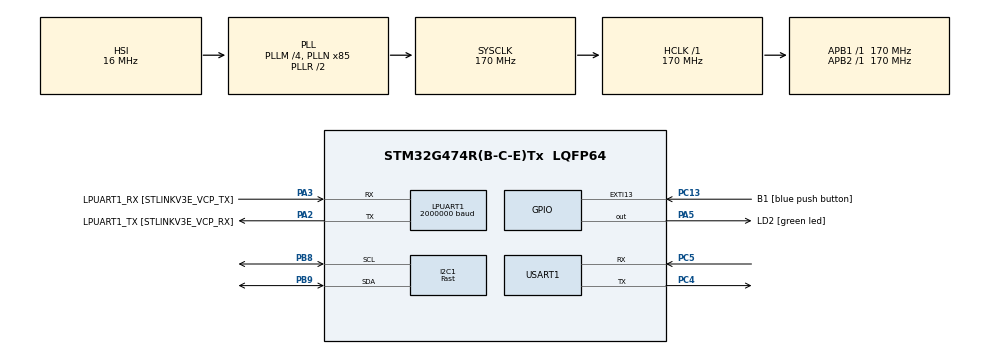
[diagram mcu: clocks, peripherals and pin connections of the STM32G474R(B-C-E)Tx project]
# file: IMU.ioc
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Dma.LPUART1_RX.0.Direction=DMA_PERIPH_TO_MEMORY
Dma.LPUART1_RX.0.EventEnable=DISABLE
Dma.LPUART1_RX.0.Instance=DMA1_Channel1
Dma.LPUART1_RX.0.MemDataAlignment=DMA_MDATAALIGN_BYTE
Dma.LPUART1_RX.0.MemInc=DMA_MINC_ENABLE
Dma.LPUART1_RX.0.Mode=DMA_CIRCULAR
Dma.LPUART1_RX.0.PeriphDataAlignment=DMA_PDATAALIGN_BYTE
Dma.LPUART1_RX.0.PeriphInc=DMA_PINC_DISABLE
Dma.LPUART1_RX.0.Polarity=HAL_DMAMUX_REQ_GEN_RISING
Dma.LPUART1_RX.0.Priority=DMA_PRIORITY_VERY_HIGH
Dma.LPUART1_RX.0.RequestNumber=1
Dma.LPUART1_RX.0.SignalID=NONE
Dma.LPUART1_RX.0.SyncEnable=DISABLE
Dma.LPUART1_RX.0.SyncPolarity=HAL_DMAMUX_SYNC_NO_EVENT
Dma.LPUART1_RX.0.SyncRequestNumber=1
Dma.LPUART1_RX.0.SyncSignalID=NONE
Dma.LPUART1_TX.1.Direction=DMA_MEMORY_TO_PERIPH
Dma.LPUART1_TX.1.EventEnable=DISABLE
Dma.LPUART1_TX.1.Instance=DMA1_Channel2
Dma.LPUART1_TX.1.MemDataAlignment=DMA_MDATAALIGN_BYTE
Dma.LPUART1_TX.1.MemInc=DMA_MINC_ENABLE
Dma.LPUART1_TX.1.Mode=DMA_NORMAL
Dma.LPUART1_TX.1.PeriphDataAlignment=DMA_PDATAALIGN_BYTE
Dma.LPUART1_TX.1.PeriphInc=DMA_PINC_DISABLE
Dma.LPUART1_TX.1.Polarity=HAL_DMAMUX_REQ_GEN_RISING
Dma.LPUART1_TX.1.Priority=DMA_PRIORITY_VERY_HIGH
Dma.LPUART1_TX.1.RequestNumber=1
Dma.LPUART1_TX.1.SignalID=NONE
Dma.LPUART1_TX.1.SyncEnable=DISABLE
Dma.LPUART1_TX.1.SyncPolarity=HAL_DMAMUX_SYNC_NO_EVENT
Dma.LPUART1_TX.1.SyncRequestNumber=1
Dma.LPUART1_TX.1.SyncSignalID=NONE
Dma.Request0=LPUART1_RX
Dma.Request1=LPUART1_TX
Dma.Request2=USART1_RX
Dma.Request3=USART1_TX
Dma.USART1_RX.2.Direction=DMA_PERIPH_TO_MEMORY
Dma.USART1_RX.2.EventEnable=DISABLE
Dma.USART1_RX.2.Instance=DMA1_Channel3
Dma.USART1_RX.2.MemDataAlignment=DMA_MDATAALIGN_BYTE
Dma.USART1_RX.2.MemInc=DMA_MINC_ENABLE
Dma.USART1_RX.2.Mode=DMA_CIRCULAR
Dma.USART1_RX.2.PeriphDataAlignment=DMA_PDATAALIGN_BYTE
Dma.USART1_RX.2.PeriphInc=DMA_PINC_DISABLE
Dma.USART1_RX.2.Polarity=HAL_DMAMUX_REQ_GEN_RISING
Dma.USART1_RX.2.Priority=DMA_PRIORITY_LOW
Dma.USART1_RX.2.RequestNumber=1
Dma.USART1_RX.2.SignalID=NONE
Dma.USART1_RX.2.SyncEnable=DISABLE
Dma.USART1_RX.2.SyncPolarity=HAL_DMAMUX_SYNC_NO_EVENT
Dma.USART1_RX.2.SyncRequestNumber=1
Dma.USART1_RX.2.SyncSignalID=NONE
Dma.USART1_TX.3.Direction=DMA_MEMORY_TO_PERIPH
Dma.USART1_TX.3.EventEnable=DISABLE
Dma.USART1_TX.3.Instance=DMA1_Channel4
Dma.USART1_TX.3.MemDataAlignment=DMA_MDATAALIGN_BYTE
Dma.USART1_TX.3.MemInc=DMA_MINC_ENABLE
Dma.USART1_TX.3.Mode=DMA_NORMAL
Dma.USART1_TX.3.PeriphDataAlignment=DMA_PDATAALIGN_BYTE
Dma.USART1_TX.3.PeriphInc=DMA_PINC_DISABLE
Dma.USART1_TX.3.Polarity=HAL_DMAMUX_REQ_GEN_RISING
Dma.USART1_TX.3.Priority=DMA_PRIORITY_LOW
Dma.USART1_TX.3.RequestNumber=1
Dma.USART1_TX.3.SignalID=NONE
Dma.USART1_TX.3.SyncEnable=DISABLE
Dma.USART1_TX.3.SyncPolarity=HAL_DMAMUX_SYNC_NO_EVENT
Dma.USART1_TX.3.SyncRequestNumber=1
Dma.USART1_TX.3.SyncSignalID=NONE
FREERTOS.Tasks01=defaultTask,24,3000,StartDefaultTask,As weak,NULL,Static,defaultTaskBuffer,defaultTaskControlBlock
FREERTOS.configENABLE_FPU=1
I2C1.I2C_Speed_Mode=I2C_Fast
I2C1.Timing=0x40621236
IWDG.Reload=2499
LPUART1.BaudRate=2000000
Mcu.Family=STM32G4
Mcu.Name=STM32G474R(B-C-E)Tx
Mcu.Package=LQFP64
NVIC.DMA1_Channel1_IRQn=true\:5\:0\:false\:false\:true\:true\:false\:true\:true
NVIC.DMA1_Channel2_IRQn=true\:5\:0\:false\:false\:true\:true\:false\:true\:true
NVIC.DMA1_Channel3_IRQn=true\:5\:0\:false\:false\:true\:true\:false\:true\:true
NVIC.DMA1_Channel4_IRQn=true\:5\:0\:false\:false\:true\:true\:false\:true\:true
NVIC.LPUART1_IRQn=true\:5\:0\:false\:false\:true\:true\:true\:true\:true
NVIC.PriorityGroup=NVIC_PRIORITYGROUP_4
NVIC.TIM1_UP_TIM16_IRQn=true\:15\:0\:false\:false\:true\:false\:false\:true\:true
NVIC.TimeBase=TIM1_UP_TIM16_IRQn
NVIC.TimeBaseIP=TIM1
NVIC.USART1_IRQn=true\:5\:0\:false\:false\:true\:true\:true\:true\:true
PA13.GPIO_Label=T_SWDIO
PA13.Signal=SYS_JTMS-SWDIO
PA14.GPIO_Label=T_SWCLK
PA14.Signal=SYS_JTCK-SWCLK
PA2.GPIO_Label=LPUART1_TX [STLINKV3E_VCP_RX]
PA2.Mode=Asynchronous
PA2.Signal=LPUART1_TX
PA3.GPIO_Label=LPUART1_RX [STLINKV3E_VCP_TX]
PA3.Mode=Asynchronous
PA3.Signal=LPUART1_RX
PA5.GPIO_Label=LD2 [green led]
PA5.Signal=GPIO_Output
PB3.GPIO_Label=T_SWO
PB3.Signal=SYS_JTDO-SWO
PB8-BOOT0.Mode=I2C
PB8-BOOT0.Signal=I2C1_SCL
PB9.Mode=I2C
PB9.Signal=I2C1_SDA
PC13.GPIO_Label=B1 [blue push button]
PC13.Signal=GPXTI13
PC14-OSC32_IN.GPIO_Label=RCC_OSC32_IN
PC14-OSC32_IN.Signal=RCC_OSC32_IN
PC15-OSC32_OUT.GPIO_Label=RCC_OSC32_OUT
PC15-OSC32_OUT.Signal=RCC_OSC32_OUT
PC4.Mode=Asynchronous
PC4.Signal=USART1_TX
PC5.Mode=Asynchronous
PC5.Signal=USART1_RX
PF0-OSC_IN.GPIO_Label=RCC_OSC_IN
PF0-OSC_IN.Signal=RCC_OSC_IN
PF1-OSC_OUT.GPIO_Label=RCC_OSC_OUT
PF1-OSC_OUT.Signal=RCC_OSC_OUT
ProjectManager.HeapSize=0x200
ProjectManager.StackSize=0x400
ProjectManager.TargetToolchain=STM32CubeIDE
RCC.ADC12Freq_Value=170000000
RCC.ADC345Freq_Value=170000000
RCC.AHBFreq_Value=170000000
RCC.APB1Freq_Value=170000000
RCC.APB1TimFreq_Value=170000000
RCC.APB2Freq_Value=170000000
RCC.APB2TimFreq_Value=170000000
RCC.CortexFreq_Value=170000000
RCC.EXTERNAL_CLOCK_VALUE=12288000
RCC.HCLKFreq_Value=170000000
RCC.HSE_VALUE=24000000
RCC.HSI48_VALUE=48000000
RCC.HSI_VALUE=16000000
RCC.LSE_VALUE=32768
RCC.PLLM=RCC_PLLM_DIV4
RCC.PLLN=85
RCC.RTCClockSelection=RCC_RTCCLKSOURCE_LSE
RCC.SYSCLKFreq_VALUE=170000000
RCC.SYSCLKSource=RCC_SYSCLKSOURCE_PLLCLK
RCC.USBFreq_Value=170000000
RCC.VCOOutputFreq_Value=340000000
USART1.VirtualMode-Asynchronous=VM_ASYNC
VP_FREERTOS_VS_CMSIS_V2.Mode=CMSIS_V2
VP_IWDG_VS_IWDG.Mode=IWDG_Activate
VP_SYS_VS_DBSignals.Mode=DisableDeadBatterySignals
VP_SYS_VS_tim1.Mode=TIM1
board=NUCLEO-G474RE

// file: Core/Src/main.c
/* USER CODE BEGIN Header */
/**
  ******************************************************************************
  * @file           : main.c
  * @brief          : Main program body
  ******************************************************************************
  * @attention
  *
  * Copyright (c) 2024 STMicroelectronics.
  * All rights reserved.
  *
  * This software is licensed under terms that can be found in the LICENSE file
  * in the root directory of this software component.
  * If no LICENSE file comes with this software, it is provided AS-IS.
  *
  ******************************************************************************
  */
/* USER CODE END Header */
#include "main.h"
#include "cmsis_os.h"
#include "dma.h"
#include "i2c.h"
#include "iwdg.h"
#include "usart.h"
#include "gpio.h"

/* USER CODE BEGIN Includes */
#include <rcl/rcl.h>
#include <rcl/error_handling.h>
#include <rclc/rclc.h>
#include <rclc/executor.h>
#include <rclc_parameter/rclc_parameter.h>
#include <uxr/client/transport.h>
#include <rmw_microxrcedds_c/config.h>
#include <rmw_microros/rmw_microros.h>
#include <stdio.h>

#include <micro_ros_utilities/string_utilities.h>
#include <sensor_msgs/msg/imu.h>
#include <mpu6050.h>
#include <imu_interfaces/srv/imu_calibration.h>
#include <geometry_msgs/msg/twist.h>
#include <std_msgs/msg/string.h>
#include <std_srvs/srv/trigger.h>
#include <std_msgs/msg/int8.h>
#include <rosidl_runtime_c/string_functions.h>
#include "math.h"
//#include "arm_math.h"
//#include "kalman_angle.h"
#include "kalman_model.h"
/* USER CODE END Includes */

/* USER CODE BEGIN PTD */

typedef struct {
	double x;
	double y;
	double z;
}offset3d_t;

bool is_calib = false;

typedef struct{
	double ax;
	double ay;
	double az;
	double gx;
	double gy;
	double gz;
}tuple_double_t;

typedef struct{
	double roll;
	double pitch;
	double yaw;
}angle_t;

bool is_active = false;

/* USER CODE END PTD */

/* USER CODE BEGIN PD */
#define RCCHECK(fn) if(fn != RCL_RET_OK) {};

#define G2M_S2 9.81
#define DEG2RAD M_PI / 180.0
#define RAD2DEG 180.0 / M_PI
#define MPU6050_ADDR 0xD0
#define WHO_AM_I_REG 0x75
/* USER CODE END PD */

/* USER CODE BEGIN PV */
rclc_support_t support;
rcl_allocator_t allocator;
rcl_node_t node;
rcl_init_options_t init_options;
rcl_timer_t mpu6050_timer;
rclc_executor_t executor;
rcl_service_t mpu6050_service;
rcl_service_t status_service;

rcl_publisher_t mpu6050_publisher;
sensor_msgs__msg__Imu mpu6050_msg;
imu_interfaces__srv__ImuCalibration_Response mpu6050_response;
imu_interfaces__srv__ImuCalibration_Request mpu6050_request;
std_srvs__srv__Trigger_Request status_request;
std_srvs__srv__Trigger_Response status_response;

MPU6050_t MPU6050;
offset3d_t accel_offset;
offset3d_t gyro_offset;

tuple_double_t data;
tuple_double_t read_data;
float gyro_roll = 0,gyro_pitch = 0, gyro_yaw = 0;
float accel_roll,accel_pitch;

angle_t gyro_angle, accel_angle;
rmw_ret_t mrag_status;
rcl_publisher_t cmd_vel;
geometry_msgs__msg__Twist cmdvel_msg;

//Kalman_t KX = {
//    .Q_angle = 0.001f,
//    .Q_bias = 0.003f,
//    .R_measure = 0.03f};
//
//Kalman_t KY = {
//    .Q_angle = 0.001f,
//    .Q_bias = 0.003f,
//    .R_measure = 0.03f,
//};

KalmanFilter kf;
HAL_StatusTypeDef device_status;
double v_x,v_y;
uint8_t reset_flag = 0;

rcl_publisher_t blinker_pub;
std_msgs__msg__Int8 blink_msg;

rcl_publisher_t speedo_pub;
geometry_msgs__msg__Twist speedo_msg;

/* USER CODE END PV */

void SystemClock_Config(void);
void MX_FREERTOS_Init(void);
/* USER CODE BEGIN PFP */
bool cubemx_transport_open(struct uxrCustomTransport * transport);
bool cubemx_transport_close(struct uxrCustomTransport * transport);
size_t cubemx_transport_write(struct uxrCustomTransport* transport, const uint8_t * buf, size_t len, uint8_t * err);
size_t cubemx_transport_read(struct uxrCustomTransport* transport, uint8_t* buf, size_t len, int timeout, uint8_t* err);

void * microros_allocate(size_t size, void * state);
void microros_deallocate(void * pointer, void * state);
void * microros_reallocate(void * pointer, size_t size, void * state);
void * microros_zero_allocate(size_t number_of_elements, size_t size_of_element, void * state);

tuple_double_t readImuCalibrated();
tuple_double_t readImuNonCalibrated();
void rpfromAccel();
void rpfromGyro();
double mapd(double input, double in_min, double in_max, double out_min, double out_max) ;
double LimitRange(double data, double min, double max);

/* USER CODE END PFP */

int main(void)
{

  /* MCU Configuration--------------------------------------------------------*/

  /* Reset of all peripherals, Initializes the Flash interface and the Systick. */
  HAL_Init();

  /* Configure the system clock */
  SystemClock_Config();

  /* Initialize all configured peripherals */
  MX_GPIO_Init();
  MX_DMA_Init();
  MX_IWDG_Init();
  MX_LPUART1_UART_Init();
  MX_I2C1_Init();
  MX_USART1_UART_Init();
  /* USER CODE BEGIN 2 */
  while (MPU6050_Init(&hi2c1) == 1);
//  KalmanFilter_Init();
//  KalmanFilter_Init(&kf_roll, 0.01f);
//  KalmanFilter_Init(&kf_pitch, 0.01f);
  KalmanFilter_Init(&kf, 0.01712); // 58.4 HZ loop
  /* USER CODE END 2 */

  /* Init scheduler */
  osKernelInitialize();

  /* Call init function for freertos objects (in cmsis_os2.c) */
  MX_FREERTOS_Init();

  /* Start scheduler */
  osKernelStart();

  /* We should never get here as control is now taken by the scheduler */

  /* Infinite loop */
  while (1)
  {

  }
}

void SystemClock_Config(void)
{
  RCC_OscInitTypeDef RCC_OscInitStruct = {0};
  RCC_ClkInitTypeDef RCC_ClkInitStruct = {0};

  /** Configure the main internal regulator output voltage
  */
  HAL_PWREx_ControlVoltageScaling(PWR_REGULATOR_VOLTAGE_SCALE1_BOOST);

  /** Initializes the RCC Oscillators according to the specified parameters
  * in the RCC_OscInitTypeDef structure.
  */
  RCC_OscInitStruct.OscillatorType = RCC_OSCILLATORTYPE_HSI|RCC_OSCILLATORTYPE_LSI;
  RCC_OscInitStruct.HSIState = RCC_HSI_ON;
  RCC_OscInitStruct.HSICalibrationValue = RCC_HSICALIBRATION_DEFAULT;
  RCC_OscInitStruct.LSIState = RCC_LSI_ON;
  RCC_OscInitStruct.PLL.PLLState = RCC_PLL_ON;
  RCC_OscInitStruct.PLL.PLLSource = RCC_PLLSOURCE_HSI;
  RCC_OscInitStruct.PLL.PLLM = RCC_PLLM_DIV4;
  RCC_OscInitStruct.PLL.PLLN = 85;
  RCC_OscInitStruct.PLL.PLLP = RCC_PLLP_DIV2;
  RCC_OscInitStruct.PLL.PLLQ = RCC_PLLQ_DIV2;
  RCC_OscInitStruct.PLL.PLLR = RCC_PLLR_DIV2;
  if (HAL_RCC_OscConfig(&RCC_OscInitStruct) != HAL_OK)
  {
    Error_Handler();
  }

  /** Initializes the CPU, AHB and APB buses clocks
  */
  RCC_ClkInitStruct.ClockType = RCC_CLOCKTYPE_HCLK|RCC_CLOCKTYPE_SYSCLK
                              |RCC_CLOCKTYPE_PCLK1|RCC_CLOCKTYPE_PCLK2;
  RCC_ClkInitStruct.SYSCLKSource = RCC_SYSCLKSOURCE_PLLCLK;
  RCC_ClkInitStruct.AHBCLKDivider = RCC_SYSCLK_DIV1;
  RCC_ClkInitStruct.APB1CLKDivider = RCC_HCLK_DIV1;
  RCC_ClkInitStruct.APB2CLKDivider = RCC_HCLK_DIV1;

  if (HAL_RCC_ClockConfig(&RCC_ClkInitStruct, FLASH_LATENCY_4) != HAL_OK)
  {
    Error_Handler();
  }
}

/* USER CODE BEGIN 4 */
void timer_callback(rcl_timer_t * timer, int64_t last_call_time)
{
	if (timer != NULL) {

		// Synchronize time with the agent
		rmw_uros_sync_session(1000);
		device_status = HAL_I2C_IsDeviceReady(&hi2c1, MPU6050_ADDR, 1, 10);

		if(device_status == HAL_OK){
			is_active = true;
			if(is_calib ) {

				double linear_x, angular_z;
				readImuCalibrated();

				rpfromAccel();
				rpfromGyro();
				RCCHECK(rcl_publish(&mpu6050_publisher, &mpu6050_msg, NULL));

//				v_x = Kalman_getAngle(&KX, accel_angle.roll, data.gx, 0.01712 );
//				v_y = Kalman_getAngle(&KY, accel_angle.pitch, data.gy, 0.01712 );

				KalmanFilter_Update(&kf, accel_angle.roll, accel_angle.pitch, 0, data.gx, data.gy, data.gz);

				cmdvel_msg.linear.x =  LimitRange(mapd(kf.x_k_data[0], -70.0, 70.0, -40.0, 40.0), -20.0, 20.0);
				cmdvel_msg.angular.z = mapd(kf.x_k_data[1], -50.0, 50.0, -5.0, 5.0);

				linear_x =  LimitRange(mapd(kf.x_k_data[0], -70.0, 70.0, -40.0, 40.0), -20.0, 20.0);
				angular_z = mapd(kf.x_k_data[1], -50.0, 50.0, -5.0, 5.0);

				if((kf.x_k_data[0] >= -0.8) && (kf.x_k_data[0] <= 0.8)){
					linear_x = 0.0;
				}
				if((kf.x_k_data[1] >= -1.5) && (kf.x_k_data[1] <= 1.5)){
					angular_z = 0.0;
				}

				speedo_msg.linear.x = cmdvel_msg.linear.x;
				speedo_msg.angular.z = cmdvel_msg.angular.z;

				RCCHECK(rcl_publish(&cmd_vel, &cmdvel_msg, NULL));
				RCCHECK(rcl_publish(&speedo_pub, &speedo_msg, NULL));

				if(accel_angle.pitch > 8.0){
					blink_msg.data = 1;
				}
				else if(accel_angle.pitch < -8.0){
					blink_msg.data = -1;
				}
				else{
					blink_msg.data = 0;
				}

				RCCHECK(rcl_publish(&blinker_pub, &blink_msg, NULL))

			}
			else{
				readImuNonCalibrated();
				RCCHECK(rcl_publish(&mpu6050_publisher, &mpu6050_msg, NULL));
			}
		}
		else{
			is_active = false;
			if(reset_flag == 1){
				HAL_NVIC_SystemReset();
			}
		}

		HAL_IWDG_Refresh(&hiwdg);
	}

}

void service_callback(const void * request_msg, void * response_msg){
	// Cast messages to expected types
	imu_interfaces__srv__ImuCalibration_Request * req_in = (imu_interfaces__srv__ImuCalibration_Request * ) request_msg;

	imu_interfaces__srv__ImuCalibration_Response * res_in = (imu_interfaces__srv__ImuCalibration_Response * ) response_msg;

	for(int i = 0; i < 9; i++){
		mpu6050_msg.linear_acceleration_covariance[i] = req_in->imu_calib.linear_acceleration_covariance[i];
		mpu6050_msg.angular_velocity_covariance[i] = req_in->imu_calib.angular_velocity_covariance[i];
	}

	accel_offset.x = req_in->imu_calib.linear_acceleration.x;
	accel_offset.y = req_in->imu_calib.linear_acceleration.y;
	accel_offset.z = req_in->imu_calib.linear_acceleration.z;

	gyro_offset.x = req_in->imu_calib.angular_velocity.x;
	gyro_offset.y = req_in->imu_calib.angular_velocity.y;
	gyro_offset.z = req_in->imu_calib.angular_velocity.z;

	is_calib = true;

	res_in->success = true;

	HAL_GPIO_TogglePin(LD2_GPIO_Port, LD2_Pin);

}

void status_callback(const void * request_msg, void * response_msg){
	// Cast messages to expected types

	std_srvs__srv__Trigger_Response * res_in = (std_srvs__srv__Trigger_Response  * ) response_msg;

	if(is_active){
		res_in->success = true;
		rosidl_runtime_c__String__assign(&res_in->message, "Connection Successful");
	}
	else{
		res_in->success = false;
		rosidl_runtime_c__String__assign(&res_in->message, "Connection Failed. Resetting . . .");

		reset_flag = 1;

	}

}

tuple_double_t readImuCalibrated(){
	MPU6050_Read_All(&hi2c1, &MPU6050);
	mpu6050_msg.header.stamp.sec = rmw_uros_epoch_millis() / 1000;
	mpu6050_msg.header.stamp.nanosec = 	rmw_uros_epoch_nanos();
	mpu6050_msg.linear_acceleration.x = G2M_S2 * MPU6050.Ax - accel_offset.x;
	mpu6050_msg.linear_acceleration.y = G2M_S2 * MPU6050.Ay - accel_offset.y;
	mpu6050_msg.linear_acceleration.z = G2M_S2 * MPU6050.Az - accel_offset.z;

	mpu6050_msg.angular_velocity.x = DEG2RAD * MPU6050.Gx - gyro_offset.x;
	mpu6050_msg.angular_velocity.y = DEG2RAD * MPU6050.Gy - gyro_offset.y;
	mpu6050_msg.angular_velocity.z = DEG2RAD * MPU6050.Gz - gyro_offset.z;

	data.ax = mpu6050_msg.linear_acceleration.x;
	data.ay = mpu6050_msg.linear_acceleration.y;
	data.az = mpu6050_msg.linear_acceleration.z;

	data.gx = mpu6050_msg.angular_velocity.x;
	data.gy = mpu6050_msg.angular_velocity.y;
	data.gz = mpu6050_msg.angular_velocity.z;

	return data;
}

tuple_double_t readImuNonCalibrated(){
	MPU6050_Read_All(&hi2c1, &MPU6050);
	mpu6050_msg.header.stamp.sec = rmw_uros_epoch_millis() / 1000;
	mpu6050_msg.header.stamp.nanosec = 	rmw_uros_epoch_nanos();
	mpu6050_msg.linear_acceleration.x = G2M_S2 * MPU6050.Ax ;
	mpu6050_msg.linear_acceleration.y = G2M_S2 * MPU6050.Ay;
	mpu6050_msg.linear_acceleration.z = G2M_S2 * MPU6050.Az;

	mpu6050_msg.angular_velocity.x = DEG2RAD * MPU6050.Gx;
	mpu6050_msg.angular_velocity.y = DEG2RAD * MPU6050.Gy ;
	mpu6050_msg.angular_velocity.z = DEG2RAD * MPU6050.Gz ;

	data.ax = mpu6050_msg.linear_acceleration.x;
	data.ay = mpu6050_msg.linear_acceleration.y;
	data.az = mpu6050_msg.linear_acceleration.z;

	data.gx = mpu6050_msg.angular_velocity.x;
	data.gy = mpu6050_msg.angular_velocity.y;
	data.gz = mpu6050_msg.angular_velocity.z;

	return data;
}

void rpfromAccel(){
//	accel_angle.roll =  atan2(data.ay, data.az) * RAD2DEG ;
	accel_angle.roll =  atan2(data.ay, sqrt(data.ax * data.ax + data.az * data.az )) * RAD2DEG ;
	accel_angle.pitch = -atan2(data.ax, sqrt(data.ay * data.ay + data.az * data.az )) * RAD2DEG;

}

void rpfromGyro(){
	gyro_angle.roll =  gyro_roll + data.gx * 0.01 * RAD2DEG ;
	gyro_angle.pitch = gyro_pitch + data.gy * 0.01 * RAD2DEG ;
	gyro_angle.yaw = gyro_yaw + data.gz * 0.01 * RAD2DEG ;

}

double mapd(double input, double in_min, double in_max, double out_min, double out_max) {
    return (input - in_min) * (out_max - out_min) / (in_max - in_min) + out_min;
}

double LimitRange(double data, double min, double max){
	if(data < min) return min;
	else if (data > max) return max;
	return data;
}

void StartDefaultTask(void *argument)
{
  /* USER CODE BEGIN 5 */

  // micro-ROS configuration

  rmw_uros_set_custom_transport(
    true,
    (void *) &hlpuart1,
    cubemx_transport_open,
    cubemx_transport_close,
    cubemx_transport_write,
    cubemx_transport_read);

  rcl_allocator_t freeRTOS_allocator = rcutils_get_zero_initialized_allocator();
  freeRTOS_allocator.allocate = microros_allocate;
  freeRTOS_allocator.deallocate = microros_deallocate;
  freeRTOS_allocator.reallocate = microros_reallocate;
  freeRTOS_allocator.zero_allocate =  microros_zero_allocate;

  if (!rcutils_set_default_allocator(&freeRTOS_allocator)) {
      printf("Error on default allocators (line %d)\n", __LINE__);
  }

  allocator = rcl_get_default_allocator();

  //create init_options
  init_options = rcl_get_zero_initialized_init_options();
  RCCHECK(rcl_init_options_init(&init_options, allocator));
  RCCHECK(rcl_init_options_set_domain_id(&init_options, 88));

//  rclc_support_init(&support, 0, NULL, &allocator);
  rclc_support_init_with_options(&support, 0, NULL, &init_options, &allocator);

  GPIO_PinState button = HAL_GPIO_ReadPin(B1_GPIO_Port, B1_Pin);
  uint8_t num_executor = 2  ; // total number of handles =  #timer + service

  // create node
  rclc_node_init_default(&node, "cubemx_node", "", &support);

  // create timer
  rclc_timer_init_default(&mpu6050_timer, &support, RCL_MS_TO_NS(10), timer_callback);

  // create publisher

  rclc_publisher_init_best_effort(
    &mpu6050_publisher, &node,
	ROSIDL_GET_MSG_TYPE_SUPPORT(sensor_msgs, msg, Imu), "mpu6050_publisher");

  rclc_publisher_init_default(
      &cmd_vel, &node,
	  ROSIDL_GET_MSG_TYPE_SUPPORT(geometry_msgs, msg, Twist), "cmd_vel");

  rclc_publisher_init_default(
        &speedo_pub, &node,
  	  ROSIDL_GET_MSG_TYPE_SUPPORT(geometry_msgs, msg, Twist), "speedometer");

  rclc_publisher_init_default(
        &blinker_pub, &node,
  	  ROSIDL_GET_MSG_TYPE_SUPPORT(std_msgs, msg, Int8), "blinker");

  // create service
  rclc_service_init_default(&status_service, &node,
  			ROSIDL_GET_SRV_TYPE_SUPPORT(std_srvs, srv, Trigger)
  			, "status");

	if(button == GPIO_PIN_SET){
		rclc_service_init_default(&mpu6050_service, &node,
			ROSIDL_GET_SRV_TYPE_SUPPORT(imu_interfaces, srv, ImuCalibration)
			, "mpu6050_calibration");
		num_executor += 1;
	}

	else{
		is_calib = true;
		accel_offset.x = 0.5476135517578122;
		accel_offset.y = -0.06656717285156218;
		accel_offset.z = 0.5721982896379518;

		gyro_offset.x = -0.025338463587344946;
		gyro_offset.y = -0.02339352729066801;
		gyro_offset.z = 0.0024789404321665745;

		double gyro_cov[9] = {
		    3.123911124369358e-06, 5.225997040109079e-08, 1.1549529243197505e-07,
		    5.225997040109079e-08, 3.677361834943486e-06, 4.5560155401682246e-08,
		    1.1549529243197505e-07, 4.5560155401682246e-08, 2.789920277006955e-06
		};
		double acc_cov[9] = {
		    0.001209244523446859, 2.2313204018561076e-05, 7.129883859380973e-05,
		    2.2313204018561076e-05, 0.0010572480763086421, 7.78056665057966e-05,
		    7.129883859380973e-05, 7.78056665057966e-05, 0.0038762164205234486
		};

		for(int i = 0; i < 9; i++){
				mpu6050_msg.linear_acceleration_covariance[i] = acc_cov[i];
				mpu6050_msg.angular_velocity_covariance[i] = gyro_cov[i];
			}
    }

	// Synchronize time with the agent (t check the connectivity of micro_ros_agent)
	  rmw_uros_sync_session(1000);

  // create message
  mpu6050_msg.header.frame_id = micro_ros_string_utilities_init("imu_frame");
  blink_msg.data = 0;

  // create executor
  executor = rclc_executor_get_zero_initialized_executor();

  rclc_executor_init(&executor, &support.context, num_executor, &allocator);
  rclc_executor_add_timer(&executor, &mpu6050_timer); // add timer
  if(button == GPIO_PIN_SET) rclc_executor_add_service(&executor, &mpu6050_service, &mpu6050_request,&mpu6050_response, service_callback);
  rclc_executor_add_service(&executor, &status_service, &status_request,&status_response, status_callback);
  rclc_executor_spin(&executor);

  for(;;){
    osDelay(10);
  }
  /* USER CODE END 5 */
}

/* USER CODE END 4 */

void HAL_TIM_PeriodElapsedCallback(TIM_HandleTypeDef *htim)
{
  if (htim->Instance == TIM1) {
    HAL_IncTick();
  }
}

void Error_Handler(void)
{
  __disable_irq();
  while (1)
  {
  }
}

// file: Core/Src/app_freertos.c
/* USER CODE BEGIN Header */
/**
  ******************************************************************************
  * File Name          : app_freertos.c
  * Description        : Code for freertos applications
  ******************************************************************************
  * @attention
  *
  * Copyright (c) 2024 STMicroelectronics.
  * All rights reserved.
  *
  * This software is licensed under terms that can be found in the LICENSE file
  * in the root directory of this software component.
  * If no LICENSE file comes with this software, it is provided AS-IS.
  *
  ******************************************************************************
  */
/* USER CODE END Header */

#include "FreeRTOS.h"
#include "task.h"
#include "main.h"
#include "cmsis_os.h"

typedef StaticTask_t osStaticThreadDef_t;

/* Definitions for defaultTask */
osThreadId_t defaultTaskHandle;
uint32_t defaultTaskBuffer[ 3000 ];
osStaticThreadDef_t defaultTaskControlBlock;
const osThreadAttr_t defaultTask_attributes = {
  .name = "defaultTask",
  .stack_mem = &defaultTaskBuffer[0],
  .stack_size = sizeof(defaultTaskBuffer),
  .cb_mem = &defaultTaskControlBlock,
  .cb_size = sizeof(defaultTaskControlBlock),
  .priority = (osPriority_t) osPriorityNormal,
};

void StartDefaultTask(void *argument);

void MX_FREERTOS_Init(void); /* (MISRA C 2004 rule 8.1) */

void MX_FREERTOS_Init(void) {

  /* Create the thread(s) */
  /* creation of defaultTask */
  defaultTaskHandle = osThreadNew(StartDefaultTask, NULL, &defaultTask_attributes);

}

__weak void StartDefaultTask(void *argument)
{
  for(;;)
  {
    osDelay(1);
  }
}
